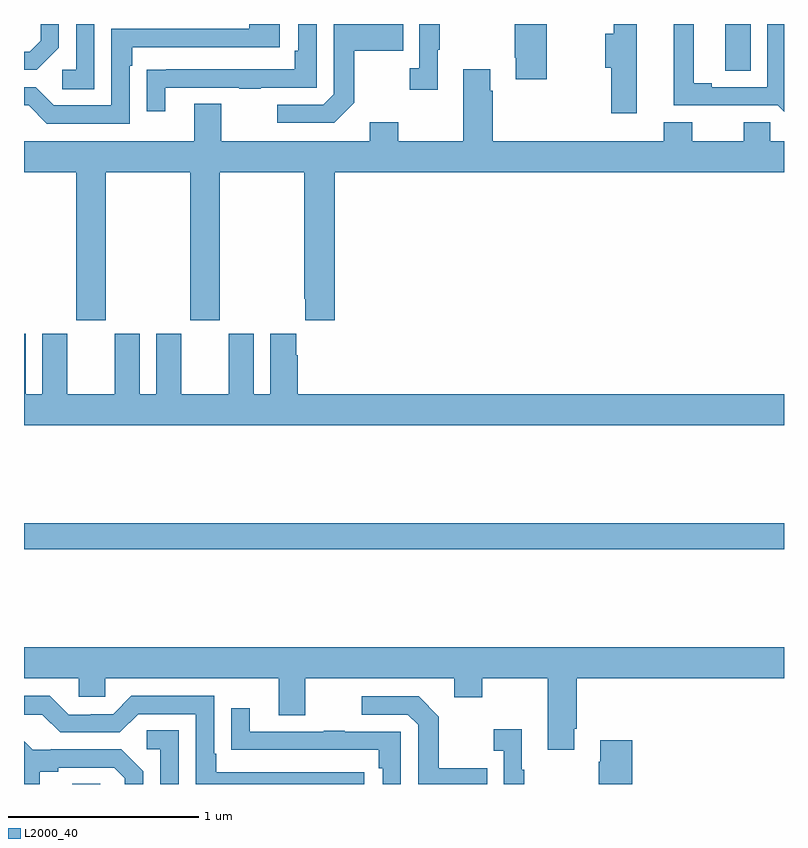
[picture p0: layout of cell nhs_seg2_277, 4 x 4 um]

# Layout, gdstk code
import gdstk
lib = gdstk.Library(unit=1e-6, precision=1e-09)
def R(c, l, rs):  # rectangles x0, y0, x1, y1
    for r in rs: c.add(gdstk.rectangle(r[:2], r[2:], *l))
def P(c, l, *ps):  # polygons
    for p in ps: c.add(gdstk.Polygon(p, *l))
L2000_40 = (2000, 40)

nhs_seg2_277 = lib.new_cell('nhs_seg2_277')
R(nhs_seg2_277, L2000_40, [(125.255,593.8,125.4,593.801), (125,595.036,129,595.172), (128.69,597.553,128.824,597.8)])
P(nhs_seg2_277, L2000_40, [(125.37,597.8),(125.274,597.8),(125.274,597.558),(125.202,597.558),(125.202,597.457),(125.37,597.457)],
  [(129,597.8),(128.913,597.8),(128.913,597.468),(128.62,597.468),(128.62,597.488),(128.524,597.488),(128.524,597.8),(128.42,597.8),(128.42,597.372),(128.966,597.372),(129,597.338)],
  [(127.752,597.8),(127.582,597.8),(127.582,597.622),(127.589,597.622),(127.589,597.51),(127.752,597.51)],
  [(128.224,597.8),(128.105,597.8),(128.105,597.749),(128.059,597.749),(128.059,597.571),(128.09,597.571),(128.09,597.33),(128.224,597.33)],
  [(125.184,597.674),(125.184,597.8),(125.087,597.8),(125.087,597.711),(125.03,597.654),(125,597.654),(125,597.558),(125.068,597.558)],
  [(127.177,597.665),(127.189,597.665),(127.189,597.8),(127.08,597.8),(127.08,597.566),(127.029,597.566),(127.029,597.453),(127.177,597.453)],
  [(125.556,597.581),(125.569,597.581),(125.569,597.678),(126.346,597.678),(126.346,597.8),(126.185,597.8),(126.185,597.774),(125.46,597.774),(125.46,597.372),(125.157,597.372),(125.061,597.468),(125,597.468),(125,597.372),(125.025,597.372),(125.121,597.276),(125.556,597.276)],
  [(126.739,597.385),(126.739,597.658),(126.995,597.658),(126.995,597.8),(126.63,597.8),(126.63,597.429),(126.576,597.375),(126.333,597.375),(126.333,597.279),(126.633,597.279)],
  [(125.743,597.465),(126.133,597.465),(126.133,597.46),(126.245,597.46),(126.245,597.465),(126.54,597.465),(126.54,597.8),(126.444,597.8),(126.444,597.658),(126.424,597.658),(126.424,597.561),(125.749,597.561),(125.749,597.56),(125.647,597.56),(125.647,597.342),(125.743,597.342)],
  [(125.43,597.02),(125.875,597.02),(125.875,596.241),(126.03,596.241),(126.03,597.02),(126.475,597.02),(126.475,596.353),(126.479,596.353),(126.479,596.241),(126.635,596.241),(126.635,597.02),(129,597.02),(129,597.184),(128.928,597.184),(128.928,597.282),(128.789,597.282),(128.789,597.184),(128.518,597.184),(128.518,597.283),(128.366,597.283),(128.366,597.184),(127.466,597.184),(127.466,597.449),(127.453,597.449),(127.453,597.562),(127.313,597.562),(127.313,597.184),(126.969,597.184),(126.969,597.283),(126.821,597.283),(126.821,597.184),(126.037,597.184),(126.037,597.379),(125.897,597.379),(125.897,597.184),(125,597.184),(125,597.02),(125.275,597.02),(125.275,596.241),(125.43,596.241)],
  [(129,595.852),(126.44,595.852),(126.44,596.057),(126.433,596.057),(126.433,596.17),(126.296,596.17),(126.296,595.852),(126.208,595.852),(126.208,596.17),(126.077,596.17),(126.077,595.852),(125.827,595.852),(125.827,596.17),(125.696,596.17),(125.696,595.852),(125.608,595.852),(125.608,596.17),(125.477,596.17),(125.477,595.852),(125.227,595.852),(125.227,596.17),(125.096,596.17),(125.096,595.852),(125.008,595.852),(125.008,596.17),(125,596.17),(125,595.688),(129,595.688)],
  [(127.897,594.091),(127.91,594.091),(127.91,594.356),(129,594.356),(129,594.52),(125,594.52),(125,594.356),(125.289,594.356),(125.289,594.258),(125.427,594.258),(125.427,594.356),(126.341,594.356),(126.341,594.162),(126.481,594.162),(126.481,594.356),(127.265,594.356),(127.265,594.257),(127.413,594.257),(127.413,594.356),(127.757,594.356),(127.757,593.979),(127.897,593.979)],
  [(126.79,593.862),(126.013,593.862),(126.013,593.959),(126,593.959),(126,594.264),(125.565,594.264),(125.469,594.168),(125.351,594.168),(125.351,594.165),(125.235,594.165),(125.135,594.265),(125,594.265),(125,594.165),(125.097,594.165),(125.19,594.072),(125.505,594.072),(125.601,594.168),(125.904,594.168),(125.904,593.8),(126.79,593.8)],
  [(127.439,593.883),(127.183,593.883),(127.183,594.155),(127.077,594.261),(126.777,594.261),(126.777,594.165),(127.02,594.165),(127.074,594.111),(127.074,593.8),(127.439,593.8)],
  [(126.984,594.075),(126.689,594.075),(126.689,594.08),(126.577,594.08),(126.577,594.075),(126.187,594.075),(126.187,594.199),(126.091,594.199),(126.091,593.98),(126.193,593.98),(126.193,593.979),(126.868,593.979),(126.868,593.882),(126.888,593.882),(126.888,593.8),(126.984,593.8)],
  [(127.633,593.875),(127.621,593.875),(127.621,594.088),(127.473,594.088),(127.473,593.975),(127.524,593.975),(127.524,593.8),(127.633,593.8)],
  [(125.814,594.083),(125.646,594.083),(125.646,593.982),(125.718,593.982),(125.718,593.8),(125.814,593.8)],
  [(128.201,594.031),(128.033,594.031),(128.033,593.918),(128.026,593.918),(128.026,593.8),(128.201,593.8)],
  [(125.083,593.864),(125.179,593.864),(125.179,593.886),(125.474,593.886),(125.531,593.829),(125.531,593.8),(125.628,593.8),(125.628,593.866),(125.512,593.982),(125.14,593.982),(125.14,593.979),(125.046,593.979),(125,594.025),(125,593.8),(125.083,593.8)])

lib.write_gds('nhs_seg2_277.gds')
